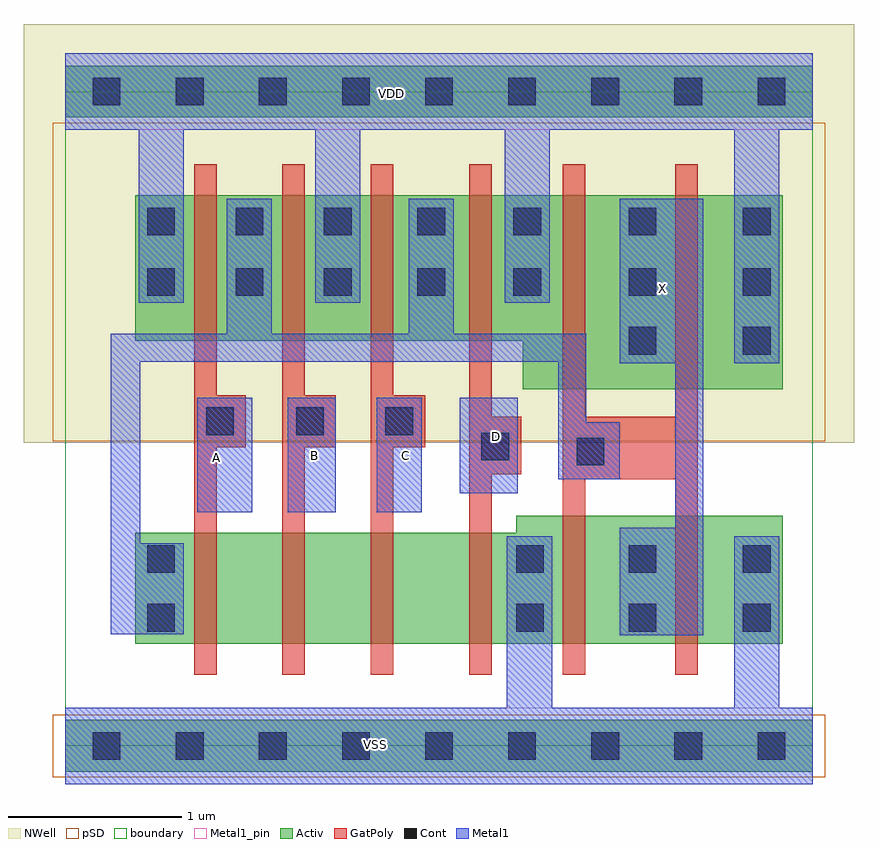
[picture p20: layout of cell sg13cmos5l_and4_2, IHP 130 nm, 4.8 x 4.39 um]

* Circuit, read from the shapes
.subckt sg13cmos5l_and4_2 A B C D VDD VSS X
XM1 n1 A n2 VSS sg13_lv_nmos w=0.64u l=0.13u
XM2 n3 B n1 VSS sg13_lv_nmos w=0.64u l=0.13u
XM3 n4 C n3 VSS sg13_lv_nmos w=0.64u l=0.13u
XM4 VSS D n4 VSS sg13_lv_nmos w=0.64u l=0.13u
XM5 X n2 VSS VSS sg13_lv_nmos w=0.74u l=0.13u m=2
XM6 n2 A VDD VDD sg13_lv_pmos w=0.84u l=0.13u
XM7 VDD B n2 VDD sg13_lv_pmos w=0.84u l=0.13u
XM8 n2 C VDD VDD sg13_lv_pmos w=0.84u l=0.13u
XM9 VDD D n2 VDD sg13_lv_pmos w=0.84u l=0.13u
XM10 X n2 VDD VDD sg13_lv_pmos w=1.12u l=0.13u m=2
.ends

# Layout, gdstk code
import gdstk
lib = gdstk.Library(unit=1e-6, precision=1e-09)
def R(c, l, rs):  # rectangles x0, y0, x1, y1
    for r in rs: c.add(gdstk.rectangle(r[:2], r[2:], *l))
def A(c, l, x, y, w, h, nx, ny, dx, dy):  # array of equal rectangles
    R(c, l, [(x+i*dx, y+j*dy, x+i*dx+w, y+j*dy+h) for i in range(nx) for j in range(ny)])
def P(c, l, *ps):  # polygons
    for p in ps: c.add(gdstk.Polygon(p, *l))
Activ = (1, 0)
GatPoly = (5, 0)
Cont = (6, 0)
Metal1 = (8, 0)
Metal1_pin = (8, 2)
pSD = (14, 0)
NWell = (31, 0)
boundary = (189, 4)

sg13cmos5l_and4_2 = lib.new_cell('sg13cmos5l_and4_2')
R(sg13cmos5l_and4_2, Activ, [(0,-0.15,4.32,0.15), (0,3.63,4.32,3.93)])
P(sg13cmos5l_and4_2, Activ, [(0.405,0.59),(0.405,1.23),(2.605,1.23),(2.605,1.33),(4.145,1.33),(4.145,0.59)],
  [(2.645,2.06),(2.645,2.34),(0.405,2.34),(0.405,3.18),(4.145,3.18),(4.145,2.06)])
P(sg13cmos5l_and4_2, GatPoly, [(0.745,0.41),(0.745,3.36),(0.875,3.36),(0.875,2.025),(1.045,2.025),(1.045,1.725),(0.875,1.725),(0.875,0.41)],
  [(1.255,0.41),(1.255,3.36),(1.385,3.36),(1.385,2.025),(1.565,2.025),(1.565,1.725),(1.385,1.725),(1.385,0.41)],
  [(1.765,0.41),(1.765,3.36),(1.895,3.36),(1.895,2.025),(2.08,2.025),(2.08,1.725),(1.895,1.725),(1.895,0.41)],
  [(2.335,0.41),(2.335,3.36),(2.465,3.36),(2.465,1.9),(2.635,1.9),(2.635,1.57),(2.465,1.57),(2.465,0.41)],
  [(2.875,0.41),(2.875,3.36),(3.005,3.36),(3.005,1.9),(3.525,1.9),(3.525,3.36),(3.655,3.36),(3.655,0.41),(3.525,0.41),(3.525,1.54),(3.005,1.54),(3.005,0.41)])
A(sg13cmos5l_and4_2, Cont, 0.16, -0.08, 0.16, 0.16, 9, 2, 0.48, 3.78)
A(sg13cmos5l_and4_2, Cont, 0.475, 2.6, 0.16, 0.16, 3, 2, 0.51, 0.35)
R(sg13cmos5l_and4_2, Cont, [(0.475,0.66,0.635,0.82), (2.605,0.66,2.765,0.82), (3.255,0.66,3.415,0.82), (3.915,0.66,4.075,0.82), (0.475,1,0.635,1.16), (2.605,1,2.765,1.16), (3.255,1,3.415,1.16), (3.915,1,4.075,1.16), (2.955,1.62,3.115,1.78), (2.405,1.65,2.565,1.81), (0.815,1.795,0.975,1.955), (1.335,1.795,1.495,1.955), (1.85,1.795,2.01,1.955), (3.255,2.26,3.415,2.42), (3.915,2.26,4.075,2.42), (2.035,2.6,2.195,2.76), (2.59,2.6,2.75,2.76), (3.255,2.6,3.415,2.76), (3.915,2.6,4.075,2.76), (2.035,2.95,2.195,3.11), (2.59,2.95,2.75,3.11), (3.255,2.95,3.415,3.11), (3.915,2.95,4.075,3.11)])
R(sg13cmos5l_and4_2, Metal1, [(0.765,1.35,1.08,2.01), (1.285,1.35,1.565,2.01), (1.8,1.35,2.06,2.01), (2.28,1.46,2.615,2.01)])
P(sg13cmos5l_and4_2, Metal1, [(0,-0.22),(0,0.22),(2.55,0.22),(2.55,1.21),(2.815,1.21),(2.815,0.22),(3.865,0.22),(3.865,1.21),(4.125,1.21),(4.125,0.22),(4.32,0.22),(4.32,-0.22)],
  [(3.865,2.21),(3.865,3.56),(2.8,3.56),(2.8,2.56),(2.54,2.56),(2.54,3.56),(1.705,3.56),(1.705,2.56),(1.445,2.56),(1.445,3.56),(0.685,3.56),(0.685,2.56),(0.425,2.56),(0.425,3.56),(0,3.56),(0,4),(4.32,4),(4.32,3.56),(4.125,3.56),(4.125,2.21)],
  [(3.205,0.64),(3.205,1.26),(3.525,1.26),(3.525,2.21),(3.205,2.21),(3.205,3.16),(3.685,3.16),(3.685,0.64)],
  [(0.265,0.645),(0.265,2.38),(0.935,2.38),(0.935,3.16),(1.195,3.16),(1.195,2.38),(1.985,2.38),(1.985,3.16),(2.245,3.16),(2.245,2.38),(3.01,2.38),(3.01,1.87),(3.205,1.87),(3.205,1.54),(2.85,1.54),(2.85,2.22),(0.435,2.22),(0.435,1.17),(0.685,1.17),(0.685,0.645)])
R(sg13cmos5l_and4_2, Metal1_pin, [(0,-0.22,4.32,0.22), (0.765,1.35,1.08,2.01), (1.285,1.35,1.565,2.01), (1.8,1.35,2.06,2.01), (2.28,1.46,2.615,2.01), (3.205,2.21,3.685,3.16), (0,3.56,4.32,4)])
R(sg13cmos5l_and4_2, pSD, [(-0.07,-0.18,4.39,0.18), (-0.07,1.76,4.39,3.6)])
R(sg13cmos5l_and4_2, NWell, [(-0.24,1.75,4.56,4.17)])
R(sg13cmos5l_and4_2, boundary, [(0,0,4.32,3.78)])
sg13cmos5l_and4_2.add(gdstk.Label('X', (3.45,2.64), layer=8, texttype=25))
sg13cmos5l_and4_2.add(gdstk.Label('B', (1.44,1.68), layer=8, texttype=25))
sg13cmos5l_and4_2.add(gdstk.Label('A', (0.875,1.665), layer=8, texttype=25))
sg13cmos5l_and4_2.add(gdstk.Label('VDD', (1.885,3.77), layer=8, texttype=25))
sg13cmos5l_and4_2.add(gdstk.Label('VSS', (1.795,0.01), layer=8, texttype=25))
sg13cmos5l_and4_2.add(gdstk.Label('C', (1.965,1.68), layer=8, texttype=25))
sg13cmos5l_and4_2.add(gdstk.Label('D', (2.49,1.785), layer=8, texttype=25))

lib.write_gds('sg13cmos5l_and4_2.gds')
